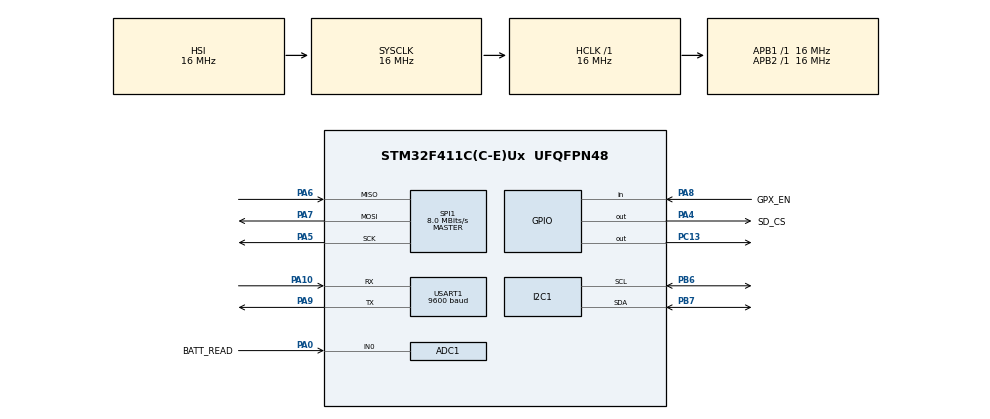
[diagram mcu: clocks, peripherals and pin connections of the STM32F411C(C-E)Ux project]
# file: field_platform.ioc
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ADC1.Channel-0\#ChannelRegularConversion=ADC_CHANNEL_0
ADC1.NbrOfConversionFlag=1
ADC1.Rank-0\#ChannelRegularConversion=1
ADC1.SamplingTime-0\#ChannelRegularConversion=ADC_SAMPLETIME_3CYCLES
ADC1.master=1
Dma.Request0=USART1_RX
Dma.USART1_RX.0.Direction=DMA_PERIPH_TO_MEMORY
Dma.USART1_RX.0.FIFOMode=DMA_FIFOMODE_DISABLE
Dma.USART1_RX.0.Instance=DMA2_Stream2
Dma.USART1_RX.0.MemDataAlignment=DMA_MDATAALIGN_BYTE
Dma.USART1_RX.0.MemInc=DMA_MINC_ENABLE
Dma.USART1_RX.0.Mode=DMA_NORMAL
Dma.USART1_RX.0.PeriphDataAlignment=DMA_PDATAALIGN_BYTE
Dma.USART1_RX.0.PeriphInc=DMA_PINC_DISABLE
Dma.USART1_RX.0.Priority=DMA_PRIORITY_LOW
Mcu.Family=STM32F4
Mcu.Name=STM32F411C(C-E)Ux
Mcu.Package=UFQFPN48
NVIC.DMA2_Stream2_IRQn=true\:0\:0\:false\:false\:true\:false\:true\:true
NVIC.PriorityGroup=NVIC_PRIORITYGROUP_4
NVIC.USART1_IRQn=true\:0\:0\:false\:false\:true\:true\:true\:true
PA0-WKUP.GPIO_Label=BATT_READ
PA0-WKUP.Signal=ADCx_IN0
PA10.Mode=Asynchronous
PA10.Signal=USART1_RX
PA13.Mode=Serial_Wire
PA13.Signal=SYS_JTMS-SWDIO
PA14.Mode=Serial_Wire
PA14.Signal=SYS_JTCK-SWCLK
PA4.GPIO_Label=SD_CS
PA4.Signal=GPIO_Output
PA5.Mode=Full_Duplex_Master
PA5.Signal=SPI1_SCK
PA6.Mode=Full_Duplex_Master
PA6.Signal=SPI1_MISO
PA7.Mode=Full_Duplex_Master
PA7.Signal=SPI1_MOSI
PA8.GPIO_Label=GPX_EN
PA8.GPIO_PuPd=GPIO_PULLDOWN
PA8.Signal=GPIO_Input
PA9.Mode=Asynchronous
PA9.Signal=USART1_TX
PB6.Mode=I2C
PB6.Signal=I2C1_SCL
PB7.Mode=I2C
PB7.Signal=I2C1_SDA
PC13-ANTI_TAMP.Signal=GPIO_Output
ProjectManager.HeapSize=0x200
ProjectManager.StackSize=0x400
ProjectManager.TargetToolchain=STM32CubeIDE
RCC.AHBFreq_Value=16000000
RCC.APB1Freq_Value=16000000
RCC.APB2Freq_Value=16000000
RCC.CortexFreq_Value=16000000
RCC.HSE_VALUE=25000000
RCC.HSI_VALUE=16000000
RCC.LSE_VALUE=32768
RCC.SYSCLKFreq_VALUE=16000000
RCC.VCOOutputFreq_Value=192000000
SH.ADCx_IN0.0=ADC1_IN0,IN0
SPI1.CalculateBaudRate=8.0 MBits/s
SPI1.Direction=SPI_DIRECTION_2LINES
SPI1.Mode=SPI_MODE_MASTER
SPI1.VirtualType=VM_MASTER
USART1.BaudRate=9600
USART1.VirtualMode=VM_ASYNC
VP_FATFS_VS_Generic.Mode=User_defined
board=custom

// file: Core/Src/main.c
/* USER CODE BEGIN Header */
/**
  ******************************************************************************
  * @file           : main.c
  * @brief          : Main program body
  ******************************************************************************
  * @attention
  *
  * Copyright (c) 2026 STMicroelectronics.
  * All rights reserved.
  *
  * This software is licensed under terms that can be found in the LICENSE file
  * in the root directory of this software component.
  * If no LICENSE file comes with this software, it is provided AS-IS.
  *
  ******************************************************************************
  */
/* USER CODE END Header */
#include "main.h"
#include "fatfs.h"

/* USER CODE BEGIN Includes */
#include <stdbool.h>

#include "gps.h"
#include "gps_logger.h"
#include "rtc_ds3231.h"
#include "sd_card.h"

/* USER CODE END Includes */

/* USER CODE BEGIN PD */
#define TEST_PASS_BLINK_MS             1000U
#define TEST_WAIT_BLINK_MS             250U
#define TEST_FAIL_BLINK_MS             125U
#define RTC_TEST_READ_INTERVAL_MS      1000U
#define GPX_EN_DEBOUNCE_MS            50U

/* USER CODE END PD */

ADC_HandleTypeDef hadc1;

I2C_HandleTypeDef hi2c1;

SPI_HandleTypeDef hspi1;

UART_HandleTypeDef huart1;
DMA_HandleTypeDef hdma_usart1_rx;

/* USER CODE BEGIN PV */
static volatile RTC_Time rtc_test_last_time;
static volatile HAL_StatusTypeDef rtc_test_last_status;
static volatile uint8_t rtc_test_passed;
static volatile GPS gps_test_last_data;
static volatile HAL_StatusTypeDef gps_test_start_status;
static volatile uint8_t gps_test_started;
static volatile uint8_t gps_test_has_bytes;
static volatile uint8_t gps_test_has_parsed_sentence;
static volatile uint8_t gps_test_has_fix;
static volatile SDCard_Status sd_card_test_status;
static volatile uint8_t sd_card_test_ready;
static volatile uint32_t sd_card_test_write_errors;
static volatile uint32_t gps_logger_test_write_errors;
static volatile uint8_t gps_logger_test_gpx_enabled;
static volatile uint8_t gps_logger_test_gpx_closed;

static uint32_t rtc_test_last_read_ms;
static uint32_t test_led_last_toggle_ms;
static uint32_t gpx_en_last_change_ms;
static uint8_t gpx_en_raw_state;
static uint8_t gpx_en_stable_state;

/* USER CODE END PV */

void SystemClock_Config(void);
static void MX_GPIO_Init(void);
static void MX_DMA_Init(void);
static void MX_ADC1_Init(void);
static void MX_I2C1_Init(void);
static void MX_USART1_UART_Init(void);
static void MX_SPI1_Init(void);
/* USER CODE BEGIN PFP */
static bool RTC_TestRunOnce(void);
static void RTC_TestPoll(uint32_t now_ms);
static bool RTC_TestTimeMatches(const RTC_Time *expected, const RTC_Time *actual);
static void GPS_TestCapture(const GPS *snapshot);
static bool GPX_EnablePoll(uint32_t now_ms);
static void Test_UpdateLed(uint32_t now_ms);

/* USER CODE END PFP */

int main(void)
{

  /* MCU Configuration--------------------------------------------------------*/

  /* Reset of all peripherals, Initializes the Flash interface and the Systick. */
  HAL_Init();

  /* Configure the system clock */
  SystemClock_Config();

  /* Initialize all configured peripherals */
  MX_GPIO_Init();
  MX_DMA_Init();
  MX_ADC1_Init();
  MX_I2C1_Init();
  MX_USART1_UART_Init();
  MX_SPI1_Init();
  MX_FATFS_Init();
  /* USER CODE BEGIN 2 */
  rtc_test_passed = RTC_TestRunOnce() ? 1U : 0U;
  GPS_Init();
  gps_test_start_status = GPS_StartReceive(&huart1);
  gps_test_started = gps_test_start_status == HAL_OK ? 1U : 0U;
  sd_card_test_status = SDCard_Init(&hspi1);
  sd_card_test_ready = sd_card_test_status == SD_CARD_OK ? 1U : 0U;
  if (sd_card_test_ready != 0U)
  {
    GPSLogger_Init();
  }

  /* USER CODE END 2 */

  /* Infinite loop */
  while (1)
  {

    /* USER CODE BEGIN 3 */
    uint32_t now_ms = HAL_GetTick();
    bool gpx_enabled = GPX_EnablePoll(now_ms);

    RTC_TestPoll(now_ms);
    GPS_Process();
    GPS_TestCapture(GPS_GetDataPtr());
    if (sd_card_test_ready != 0U)
    {
      (void)GPSLogger_SetGpxEnabled(gpx_enabled, now_ms);
    }
    if (GPS_HasNewData())
    {
      GPS snapshot = GPS_GetData();

      GPS_TestCapture(&snapshot);
      if (sd_card_test_ready != 0U)
      {
        GPSLogger_Process(&snapshot, now_ms);
      }
    }
    if (sd_card_test_ready != 0U)
    {
      GPSLogger_Tick(now_ms);
    }

    sd_card_test_status = SDCard_GetLastStatus();
    sd_card_test_ready = SDCard_IsReady() ? 1U : 0U;
    sd_card_test_write_errors = SDCard_GetWriteErrors();
    gps_logger_test_write_errors = GPSLogger_GetWriteErrors();
    gps_logger_test_gpx_enabled = GPSLogger_IsGpxEnabled() ? 1U : 0U;
    gps_logger_test_gpx_closed = GPSLogger_IsGpxClosed() ? 1U : 0U;
    Test_UpdateLed(now_ms);
  }
  /* USER CODE END 3 */
}

void SystemClock_Config(void)
{
  RCC_OscInitTypeDef RCC_OscInitStruct = {0};
  RCC_ClkInitTypeDef RCC_ClkInitStruct = {0};

  /** Configure the main internal regulator output voltage
  */
  __HAL_RCC_PWR_CLK_ENABLE();
  __HAL_PWR_VOLTAGESCALING_CONFIG(PWR_REGULATOR_VOLTAGE_SCALE1);

  /** Initializes the RCC Oscillators according to the specified parameters
  * in the RCC_OscInitTypeDef structure.
  */
  RCC_OscInitStruct.OscillatorType = RCC_OSCILLATORTYPE_HSI;
  RCC_OscInitStruct.HSIState = RCC_HSI_ON;
  RCC_OscInitStruct.HSICalibrationValue = RCC_HSICALIBRATION_DEFAULT;
  RCC_OscInitStruct.PLL.PLLState = RCC_PLL_NONE;
  if (HAL_RCC_OscConfig(&RCC_OscInitStruct) != HAL_OK)
  {
    Error_Handler();
  }

  /** Initializes the CPU, AHB and APB buses clocks
  */
  RCC_ClkInitStruct.ClockType = RCC_CLOCKTYPE_HCLK|RCC_CLOCKTYPE_SYSCLK
                              |RCC_CLOCKTYPE_PCLK1|RCC_CLOCKTYPE_PCLK2;
  RCC_ClkInitStruct.SYSCLKSource = RCC_SYSCLKSOURCE_HSI;
  RCC_ClkInitStruct.AHBCLKDivider = RCC_SYSCLK_DIV1;
  RCC_ClkInitStruct.APB1CLKDivider = RCC_HCLK_DIV1;
  RCC_ClkInitStruct.APB2CLKDivider = RCC_HCLK_DIV1;

  if (HAL_RCC_ClockConfig(&RCC_ClkInitStruct, FLASH_LATENCY_0) != HAL_OK)
  {
    Error_Handler();
  }
}

static void MX_ADC1_Init(void)
{

  ADC_ChannelConfTypeDef sConfig = {0};

  /** Configure the global features of the ADC (Clock, Resolution, Data Alignment and number of conversion)
  */
  hadc1.Instance = ADC1;
  hadc1.Init.ClockPrescaler = ADC_CLOCK_SYNC_PCLK_DIV2;
  hadc1.Init.Resolution = ADC_RESOLUTION_12B;
  hadc1.Init.ScanConvMode = DISABLE;
  hadc1.Init.ContinuousConvMode = DISABLE;
  hadc1.Init.DiscontinuousConvMode = DISABLE;
  hadc1.Init.ExternalTrigConvEdge = ADC_EXTERNALTRIGCONVEDGE_NONE;
  hadc1.Init.ExternalTrigConv = ADC_SOFTWARE_START;
  hadc1.Init.DataAlign = ADC_DATAALIGN_RIGHT;
  hadc1.Init.NbrOfConversion = 1;
  hadc1.Init.DMAContinuousRequests = DISABLE;
  hadc1.Init.EOCSelection = ADC_EOC_SINGLE_CONV;
  if (HAL_ADC_Init(&hadc1) != HAL_OK)
  {
    Error_Handler();
  }

  /** Configure for the selected ADC regular channel its corresponding rank in the sequencer and its sample time.
  */
  sConfig.Channel = ADC_CHANNEL_0;
  sConfig.Rank = 1;
  sConfig.SamplingTime = ADC_SAMPLETIME_3CYCLES;
  if (HAL_ADC_ConfigChannel(&hadc1, &sConfig) != HAL_OK)
  {
    Error_Handler();
  }

}

static void MX_I2C1_Init(void)
{

  hi2c1.Instance = I2C1;
  hi2c1.Init.ClockSpeed = 100000;
  hi2c1.Init.DutyCycle = I2C_DUTYCYCLE_2;
  hi2c1.Init.OwnAddress1 = 0;
  hi2c1.Init.AddressingMode = I2C_ADDRESSINGMODE_7BIT;
  hi2c1.Init.DualAddressMode = I2C_DUALADDRESS_DISABLE;
  hi2c1.Init.OwnAddress2 = 0;
  hi2c1.Init.GeneralCallMode = I2C_GENERALCALL_DISABLE;
  hi2c1.Init.NoStretchMode = I2C_NOSTRETCH_DISABLE;
  if (HAL_I2C_Init(&hi2c1) != HAL_OK)
  {
    Error_Handler();
  }

}

static void MX_SPI1_Init(void)
{

  /* SPI1 parameter configuration*/
  hspi1.Instance = SPI1;
  hspi1.Init.Mode = SPI_MODE_MASTER;
  hspi1.Init.Direction = SPI_DIRECTION_2LINES;
  hspi1.Init.DataSize = SPI_DATASIZE_8BIT;
  hspi1.Init.CLKPolarity = SPI_POLARITY_LOW;
  hspi1.Init.CLKPhase = SPI_PHASE_1EDGE;
  hspi1.Init.NSS = SPI_NSS_SOFT;
  hspi1.Init.BaudRatePrescaler = SPI_BAUDRATEPRESCALER_2;
  hspi1.Init.FirstBit = SPI_FIRSTBIT_MSB;
  hspi1.Init.TIMode = SPI_TIMODE_DISABLE;
  hspi1.Init.CRCCalculation = SPI_CRCCALCULATION_DISABLE;
  hspi1.Init.CRCPolynomial = 10;
  if (HAL_SPI_Init(&hspi1) != HAL_OK)
  {
    Error_Handler();
  }

}

static void MX_USART1_UART_Init(void)
{

  huart1.Instance = USART1;
  huart1.Init.BaudRate = 9600;
  huart1.Init.WordLength = UART_WORDLENGTH_8B;
  huart1.Init.StopBits = UART_STOPBITS_1;
  huart1.Init.Parity = UART_PARITY_NONE;
  huart1.Init.Mode = UART_MODE_TX_RX;
  huart1.Init.HwFlowCtl = UART_HWCONTROL_NONE;
  huart1.Init.OverSampling = UART_OVERSAMPLING_16;
  if (HAL_UART_Init(&huart1) != HAL_OK)
  {
    Error_Handler();
  }

}

static void MX_DMA_Init(void)
{

  /* DMA controller clock enable */
  __HAL_RCC_DMA2_CLK_ENABLE();

  /* DMA interrupt init */
  /* DMA2_Stream2_IRQn interrupt configuration */
  HAL_NVIC_SetPriority(DMA2_Stream2_IRQn, 0, 0);
  HAL_NVIC_EnableIRQ(DMA2_Stream2_IRQn);

}

static void MX_GPIO_Init(void)
{
  GPIO_InitTypeDef GPIO_InitStruct = {0};

  /* GPIO Ports Clock Enable */
  __HAL_RCC_GPIOC_CLK_ENABLE();
  __HAL_RCC_GPIOA_CLK_ENABLE();
  __HAL_RCC_GPIOB_CLK_ENABLE();

  /*Configure GPIO pin Output Level */
  HAL_GPIO_WritePin(GPIOC, GPIO_PIN_13, GPIO_PIN_RESET);

  /*Configure GPIO pin Output Level */
  HAL_GPIO_WritePin(SD_CS_GPIO_Port, SD_CS_Pin, GPIO_PIN_RESET);

  /*Configure GPIO pin : PC13 */
  GPIO_InitStruct.Pin = GPIO_PIN_13;
  GPIO_InitStruct.Mode = GPIO_MODE_OUTPUT_PP;
  GPIO_InitStruct.Pull = GPIO_NOPULL;
  GPIO_InitStruct.Speed = GPIO_SPEED_FREQ_LOW;
  HAL_GPIO_Init(GPIOC, &GPIO_InitStruct);

  /*Configure GPIO pin : SD_CS_Pin */
  GPIO_InitStruct.Pin = SD_CS_Pin;
  GPIO_InitStruct.Mode = GPIO_MODE_OUTPUT_PP;
  GPIO_InitStruct.Pull = GPIO_NOPULL;
  GPIO_InitStruct.Speed = GPIO_SPEED_FREQ_LOW;
  HAL_GPIO_Init(SD_CS_GPIO_Port, &GPIO_InitStruct);

  /*Configure GPIO pin : GPX_EN_Pin */
  GPIO_InitStruct.Pin = GPX_EN_Pin;
  GPIO_InitStruct.Mode = GPIO_MODE_INPUT;
  GPIO_InitStruct.Pull = GPIO_PULLDOWN;
  HAL_GPIO_Init(GPX_EN_GPIO_Port, &GPIO_InitStruct);

}

/* USER CODE BEGIN 4 */
static bool RTC_TestRunOnce(void)
{
  const RTC_Time test_time = {
      .seconds = 0U,
      .minutes = 34U,
      .hours = 12U,
      .day = 2U,
      .date = 8U,
      .month = 6U,
      .year = 26U,
  };
  RTC_Time read_time = {0};

  rtc_test_last_status = DS3231_SetTime(&hi2c1, &test_time);
  if (rtc_test_last_status != HAL_OK)
  {
    return false;
  }

  HAL_Delay(1500U);

  rtc_test_last_status = DS3231_ReadTime(&hi2c1, &read_time);
  rtc_test_last_time = read_time;
  if (rtc_test_last_status != HAL_OK)
  {
    return false;
  }

  return RTC_TestTimeMatches(&test_time, &read_time);
}

static void RTC_TestPoll(uint32_t now_ms)
{
  RTC_Time read_time = {0};

  if ((now_ms - rtc_test_last_read_ms) < RTC_TEST_READ_INTERVAL_MS)
  {
    return;
  }

  rtc_test_last_read_ms = now_ms;
  rtc_test_last_status = DS3231_ReadTime(&hi2c1, &read_time);
  rtc_test_last_time = read_time;
  if (rtc_test_last_status != HAL_OK)
  {
    rtc_test_passed = 0U;
  }
}

static bool RTC_TestTimeMatches(const RTC_Time *expected, const RTC_Time *actual)
{
  if (expected == NULL || actual == NULL)
  {
    return false;
  }

  return actual->year == expected->year &&
         actual->month == expected->month &&
         actual->date == expected->date &&
         actual->day == expected->day &&
         actual->hours == expected->hours &&
         actual->minutes == expected->minutes &&
         actual->seconds >= 1U &&
         actual->seconds <= 3U;
}

static void GPS_TestCapture(const GPS *snapshot)
{
  if (snapshot == NULL)
  {
    return;
  }

  gps_test_last_data = *snapshot;
  gps_test_has_bytes = snapshot->bytesReceived > 0U ? 1U : 0U;
  gps_test_has_parsed_sentence = snapshot->sentencesParsed > 0U ? 1U : 0U;
  gps_test_has_fix = snapshot->fix != 0U ? 1U : 0U;
}

static bool GPX_EnablePoll(uint32_t now_ms)
{
  uint8_t raw_state = HAL_GPIO_ReadPin(GPX_EN_GPIO_Port, GPX_EN_Pin) == GPIO_PIN_SET ? 1U : 0U;

  if (raw_state != gpx_en_raw_state)
  {
    gpx_en_raw_state = raw_state;
    gpx_en_last_change_ms = now_ms;
  }

  if (raw_state != gpx_en_stable_state &&
      (now_ms - gpx_en_last_change_ms) >= GPX_EN_DEBOUNCE_MS)
  {
    gpx_en_stable_state = raw_state;
  }

  return gpx_en_stable_state != 0U;
}

static void Test_UpdateLed(uint32_t now_ms)
{
  uint32_t interval_ms;

  if (rtc_test_passed == 0U || gps_test_started == 0U || sd_card_test_ready == 0U)
  {
    interval_ms = TEST_FAIL_BLINK_MS;
  }
  else if (gps_test_has_parsed_sentence == 0U)
  {
    interval_ms = TEST_WAIT_BLINK_MS;
  }
  else
  {
    interval_ms = TEST_PASS_BLINK_MS;
  }

  if ((now_ms - test_led_last_toggle_ms) >= interval_ms)
  {
    test_led_last_toggle_ms = now_ms;
    HAL_GPIO_TogglePin(GPIOC, GPIO_PIN_13);
  }
}

/* USER CODE END 4 */

void Error_Handler(void)
{
  __disable_irq();
  while (1)
  {
  }
}
